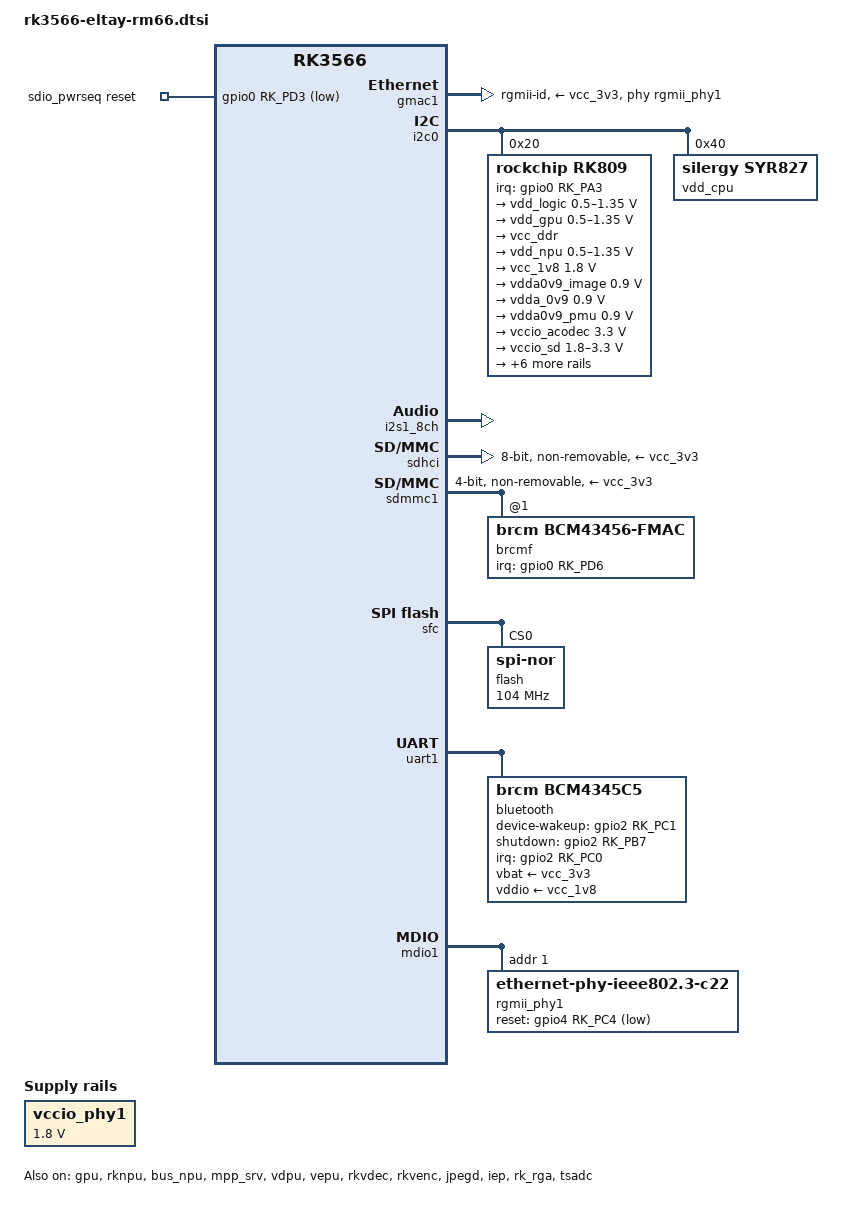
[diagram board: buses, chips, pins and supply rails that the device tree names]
// SPDX-License-Identifier: (GPL-2.0+ OR MIT)

/*
 * ELTAY RM66 SoM hardware common to carrier compositions — Rockchip BSP 6.1
 * flavor (patch/kernel/rk35xx-vendor-6.1/dt/).
 *
 * Port of the mainline rk3566-eltay-rm66.dtsi (rockchip64-6.18) to the
 * Rockchip BSP 6.1 bindings of armbian/linux-rockchip rk-6.1-rkr5.1.
 * Electrical values mirror the validated Linux 6.18 baseline (Orange Pi 3B
 * v2.1 donors retained as experimental baseline; not every timing or supply
 * value is validated by the module documentation). Camera/CSI/ISP nodes are
 * deliberately NOT here: the CAM1 carrier wiring is not validated yet and
 * the generic DTB must not describe hardware nobody probed. The NPU is
 * enabled because it is module-internal (RK3566 RKNPU2, PMIC DCDC_REG4).
 */

#include <dt-bindings/gpio/gpio.h>
#include <dt-bindings/pinctrl/rockchip.h>
#include "rk3566.dtsi"

/ {
	aliases {
		ethernet0 = &gmac1;
		mmc0 = &sdhci;
		mmc2 = &sdmmc1;
	};

	sdio_pwrseq: sdio-pwrseq {
		compatible = "mmc-pwrseq-simple";
		clocks = <&rk809 1>;
		clock-names = "ext_clock";
		pinctrl-names = "default";
		pinctrl-0 = <&wifi_reg_on_h>;
		post-power-on-delay-ms = <200>;
		power-off-delay-us = <5000000>;
		reset-gpios = <&gpio0 RK_PD3 GPIO_ACTIVE_LOW>;
	};

	/* BSP analog audio: RK809 codec behind rockchip,multicodecs-card. */
	rk809_sound: rk809-sound {
		compatible = "rockchip,multicodecs-card";
		rockchip,card-name = "rockchip-rk809";
		rockchip,cpu = <&i2s1_8ch>;
		rockchip,codec = <&rk809_codec>;
		rockchip,format = "i2s";
		rockchip,mclk-fs = <256>;
		status = "okay";
	};
};

&cpu0 {
	cpu-supply = <&vdd_cpu>;
};

&cpu1 {
	cpu-supply = <&vdd_cpu>;
};

&cpu2 {
	cpu-supply = <&vdd_cpu>;
};

&cpu3 {
	cpu-supply = <&vdd_cpu>;
};

&gmac1 {
	assigned-clocks = <&cru SCLK_GMAC1_RX_TX>, <&cru SCLK_GMAC1>;
	assigned-clock-parents = <&cru SCLK_GMAC1_RGMII_SPEED>, <&cru CLK_MAC1_2TOP>;
	clock_in_out = "input";
	phy-mode = "rgmii-id";
	phy-supply = <&vcc_3v3>;
	pinctrl-names = "default";
	pinctrl-0 = <&gmac1m0_miim
		     &gmac1m0_tx_bus2
		     &gmac1m0_rx_bus2
		     &gmac1m0_rgmii_clk
		     &gmac1m0_rgmii_bus
		     &gmac1m0_clkinout>;
};

&gpu {
	mali-supply = <&vdd_gpu>;
	status = "okay";
};

/* NPU (RKNPU2, 1 TOPS): rail is the PMIC DCDC_REG4 defined below. */
&rknpu {
	rknpu-supply = <&vdd_npu>;
	/*
	 * The rknpu driver resolves its interrupt by name first
	 * (rknpu_irqs[] = { "npu_irq", ... }) and only then falls back to
	 * platform_get_irq(pdev, 0). The BSP rk356x.dtsi declares the interrupt
	 * without a name, which makes the first lookup fail and logs
	 * "error -ENXIO: IRQ npu_irq not found" on every boot.
	 */
	interrupt-names = "npu_irq";
	status = "okay";
};

&rknpu_mmu {
	status = "okay";
};

&bus_npu {
	bus-supply = <&vdd_logic>;
	pvtm-supply = <&vdd_cpu>;
	status = "okay";
};

/*
 * Media. The BSP keeps every media block disabled in rk356x.dtsi and expects
 * the board to opt in (see rk3568-evb.dtsi / rk3568-nvr.dtsi), while the MPP
 * stack is built in and ready: CONFIG_ROCKCHIP_MPP_SERVICE, MPP_RKVDEC(2),
 * MPP_RKVENC(2), MPP_VDPU2, MPP_VEPU2, MPP_IEP2, MPP_JPGDEC are all =y.
 * Without this the vendor image has no /dev/mpp_service, no decoder/encoder
 * and no RGA at all (mainline gets them because its SoC dtsi enables them by
 * default).
 *
 * The encoder's DVFS rail (venc-supply) is left out on purpose: it has to be
 * confirmed against the RM66 schematic first. Without it the blocks work
 * without DVFS, exactly like the VOP already does on this board.
 */
&mpp_srv {
	status = "okay";
};

&vdpu {
	status = "okay";
};

&vdpu_mmu {
	status = "okay";
};

&vepu {
	status = "okay";
};

&vepu_mmu {
	status = "okay";
};

&rkvdec {
	status = "okay";
};

&rkvdec_mmu {
	status = "okay";
};

&rkvenc {
	status = "okay";
};

&rkvenc_mmu {
	status = "okay";
};

&jpegd {
	status = "okay";
};

&jpegd_mmu {
	status = "okay";
};

&iep {
	status = "okay";
};

&iep_mmu {
	status = "okay";
};

/*
 * RGA2. Enabling the node also fixes the two "rga: rga_iommu_bind, binding map
 * scheduler failed!" / "rga iommu bind failed!" errors: rga_init() calls
 * rga_iommu_bind() right after registering its platform drivers, and that bind
 * only succeeds if a scheduler was created from a matching DT node.
 */
&rk_rga {
	status = "okay";
};

&i2c0 {
	status = "okay";

	rk809: pmic@20 {
		compatible = "rockchip,rk809";
		reg = <0x20>;
		#clock-cells = <1>;
		clock-output-names = "rk809-clkout1", "rk809-clkout2";
		interrupt-parent = <&gpio0>;
		interrupts = <RK_PA3 IRQ_TYPE_LEVEL_LOW>;
		pinctrl-names = "default";
		pinctrl-0 = <&pmic_int_l>;
		system-power-controller;
		wakeup-source;

		rk809_codec: codec {
			compatible = "rockchip,rk809-codec", "rockchip,rk817-codec";
			#sound-dai-cells = <0>;
			clocks = <&cru I2S1_MCLKOUT>;
			clock-names = "mclk";
			pinctrl-names = "default";
			pinctrl-0 = <&i2s1m0_mclk>;
			status = "okay";
		};

		regulators {
			vdd_logic: DCDC_REG1 {
				regulator-name = "vdd_logic";
				regulator-always-on;
				regulator-boot-on;
				regulator-initial-mode = <0x2>;
				regulator-min-microvolt = <500000>;
				regulator-max-microvolt = <1350000>;
				regulator-ramp-delay = <6001>;

				regulator-state-mem {
					regulator-off-in-suspend;
				};
			};

			vdd_gpu: DCDC_REG2 {
				regulator-name = "vdd_gpu";
				regulator-always-on;
				regulator-boot-on;
				regulator-initial-mode = <0x2>;
				regulator-min-microvolt = <500000>;
				regulator-max-microvolt = <1350000>;
				regulator-ramp-delay = <6001>;

				regulator-state-mem {
					regulator-off-in-suspend;
				};
			};

			vcc_ddr: DCDC_REG3 {
				regulator-name = "vcc_ddr";
				regulator-always-on;
				regulator-boot-on;
				regulator-initial-mode = <0x2>;

				regulator-state-mem {
					regulator-on-in-suspend;
				};
			};

			/* Donor baseline (rk3566-orangepi-3b-v1.1, rk3568-evb,
			   rk3566-roc-pc): keep vdd_npu up from boot, matching
			   every vendor reference design. Experimental until
			   checked against the RM66 schematic; init-microvolt
			   is applied by the bundled regulator-core patch. */
			vdd_npu: DCDC_REG4 {
				regulator-name = "vdd_npu";
				regulator-always-on;
				regulator-boot-on;
				regulator-init-microvolt = <900000>;
				regulator-initial-mode = <0x2>;
				regulator-min-microvolt = <500000>;
				regulator-max-microvolt = <1350000>;
				regulator-ramp-delay = <6001>;

				regulator-state-mem {
					regulator-off-in-suspend;
				};
			};

			vcc_1v8: DCDC_REG5 {
				regulator-name = "vcc_1v8";
				regulator-always-on;
				regulator-boot-on;
				regulator-min-microvolt = <1800000>;
				regulator-max-microvolt = <1800000>;

				regulator-state-mem {
					regulator-off-in-suspend;
				};
			};

			vdda0v9_image: LDO_REG1 {
				regulator-name = "vdda0v9_image";
				regulator-min-microvolt = <900000>;
				regulator-max-microvolt = <900000>;

				regulator-state-mem {
					regulator-off-in-suspend;
				};
			};

			vdda_0v9: LDO_REG2 {
				regulator-name = "vdda_0v9";
				regulator-always-on;
				regulator-boot-on;
				regulator-min-microvolt = <900000>;
				regulator-max-microvolt = <900000>;

				regulator-state-mem {
					regulator-off-in-suspend;
				};
			};

			vdda0v9_pmu: LDO_REG3 {
				regulator-name = "vdda0v9_pmu";
				regulator-always-on;
				regulator-boot-on;
				regulator-min-microvolt = <900000>;
				regulator-max-microvolt = <900000>;

				regulator-state-mem {
					regulator-on-in-suspend;
					regulator-suspend-microvolt = <900000>;
				};
			};

			vccio_acodec: LDO_REG4 {
				regulator-name = "vccio_acodec";
				regulator-always-on;
				regulator-boot-on;
				regulator-min-microvolt = <3300000>;
				regulator-max-microvolt = <3300000>;

				regulator-state-mem {
					regulator-off-in-suspend;
				};
			};

			vccio_sd: LDO_REG5 {
				regulator-name = "vccio_sd";
				regulator-always-on;
				regulator-boot-on;
				regulator-min-microvolt = <1800000>;
				regulator-max-microvolt = <3300000>;

				regulator-state-mem {
					regulator-off-in-suspend;
				};
			};

			vcc3v3_pmu: LDO_REG6 {
				regulator-name = "vcc3v3_pmu";
				regulator-always-on;
				regulator-boot-on;
				regulator-min-microvolt = <3300000>;
				regulator-max-microvolt = <3300000>;

				regulator-state-mem {
					regulator-on-in-suspend;
					regulator-suspend-microvolt = <3300000>;
				};
			};

			vcca_1v8: LDO_REG7 {
				regulator-name = "vcca_1v8";
				regulator-always-on;
				regulator-boot-on;
				regulator-min-microvolt = <1800000>;
				regulator-max-microvolt = <1800000>;

				regulator-state-mem {
					regulator-off-in-suspend;
				};
			};

			vcca1v8_pmu: LDO_REG8 {
				regulator-name = "vcca1v8_pmu";
				regulator-always-on;
				regulator-boot-on;
				regulator-min-microvolt = <1800000>;
				regulator-max-microvolt = <1800000>;

				regulator-state-mem {
					regulator-off-in-suspend;
				};
			};

			vcca1v8_image: LDO_REG9 {
				regulator-name = "vcca1v8_image";
				regulator-min-microvolt = <1800000>;
				regulator-max-microvolt = <1800000>;

				regulator-state-mem {
					regulator-off-in-suspend;
				};
			};

			vcc_3v3: SWITCH_REG1 {
				regulator-name = "vcc_3v3";
				regulator-always-on;
				regulator-boot-on;

				regulator-state-mem {
					regulator-off-in-suspend;
				};
			};

			vcc3v3_sd: SWITCH_REG2 {
				regulator-name = "vcc3v3_sd";
				regulator-always-on;
				regulator-boot-on;

				regulator-state-mem {
					regulator-off-in-suspend;
				};
			};
		};
	};

	vdd_cpu: regulator@40 {
		compatible = "silergy,syr827";
		reg = <0x40>;
		fcs,suspend-voltage-selector = <1>;
		regulator-name = "vdd_cpu";
		regulator-always-on;
		regulator-boot-on;
		regulator-min-microvolt = <830000>;
		regulator-max-microvolt = <1200000>;
		regulator-ramp-delay = <2300>;

		regulator-state-mem {
			regulator-off-in-suspend;
		};
	};
};

&i2s1_8ch {
	pinctrl-names = "default";
	pinctrl-0 = <&i2s1m0_sclktx
		     &i2s1m0_lrcktx
		     &i2s1m0_sdi0
		     &i2s1m0_sdo0>;
	rockchip,trcm-sync-tx-only;
	status = "okay";
};

&pmu_io_domains {
	pmuio1-supply = <&vcc3v3_pmu>;
	pmuio2-supply = <&vcc3v3_pmu>;
	vccio1-supply = <&vccio_acodec>;
	vccio2-supply = <&vcc_1v8>;
	vccio3-supply = <&vccio_sd>;
	vccio4-supply = <&vcc_1v8>;
	vccio6-supply = <&vcc_3v3>;
	vccio7-supply = <&vcc_3v3>;
	status = "okay";
};

&sdhci {
	bus-width = <8>;
	cap-mmc-highspeed;
	max-frequency = <200000000>;
	mmc-hs200-1_8v;
	non-removable;
	pinctrl-names = "default";
	pinctrl-0 = <&emmc_bus8 &emmc_clk &emmc_cmd &emmc_datastrobe>;
	vmmc-supply = <&vcc_3v3>;
	vqmmc-supply = <&vcc_1v8>;
	status = "okay";
};

&sdmmc1 {
	bus-width = <4>;
	cap-sd-highspeed;
	cap-sdio-irq;
	keep-power-in-suspend;
	mmc-pwrseq = <&sdio_pwrseq>;
	no-mmc;
	no-sd;
	non-removable;
	pinctrl-names = "default";
	pinctrl-0 = <&sdmmc1_bus4 &sdmmc1_clk &sdmmc1_cmd>;
	sd-uhs-sdr104;
	vmmc-supply = <&vcc_3v3>;
	vqmmc-supply = <&vcc_1v8>;
	status = "okay";
};

&sfc {
	#address-cells = <1>;
	#size-cells = <0>;
	status = "okay";

	flash@0 {
		compatible = "jedec,spi-nor";
		reg = <0>;
		spi-max-frequency = <104000000>;
		spi-rx-bus-width = <4>;
		spi-tx-bus-width = <1>;
	};
};

&tsadc {
	rockchip,hw-tshut-mode = <1>;
	rockchip,hw-tshut-polarity = <0>;
	status = "okay";
};

&uart1 {
	dma-names = "tx", "rx";
	pinctrl-names = "default";
	pinctrl-0 = <&uart1m0_xfer &uart1m0_ctsn &uart1m0_rtsn>;
	uart-has-rtscts;
	status = "okay";
};

&pinctrl {
	bluetooth {
		bt_reg_on_h: bt-reg-on-h {
			rockchip,pins = <2 RK_PB7 RK_FUNC_GPIO &pcfg_pull_none>;
		};

		bt_wake_host_h: bt-wake-host-h {
			rockchip,pins = <2 RK_PC0 RK_FUNC_GPIO &pcfg_pull_down>;
		};

		host_wake_bt_h: host-wake-bt-h {
			rockchip,pins = <2 RK_PC1 RK_FUNC_GPIO &pcfg_pull_none>;
		};
	};

	pmic {
		pmic_int_l: pmic-int-l {
			rockchip,pins = <0 RK_PA3 RK_FUNC_GPIO &pcfg_pull_up>;
		};
	};

	wifi {
		wifi_reg_on_h: wifi-reg-on-h {
			rockchip,pins = <0 RK_PD3 RK_FUNC_GPIO &pcfg_pull_none>;
		};

		wifi_wake_host_h: wifi-wake-host-h {
			rockchip,pins = <0 RK_PD6 RK_FUNC_GPIO &pcfg_pull_none>;
		};
	};
};

/* Tested PHY and AP6256 variant on the RM66 module. */
/ {

	vccio_phy1: regulator-1v8-vccio-phy {
		compatible = "regulator-fixed";
		regulator-name = "vccio_phy1";
		regulator-always-on;
		regulator-boot-on;
		regulator-max-microvolt = <1800000>;
		regulator-min-microvolt = <1800000>;
	};
};

&pmu_io_domains {
	vccio5-supply = <&vccio_phy1>;
};

&gmac1 {
	phy-handle = <&rgmii_phy1>;
	status = "okay";
};

&mdio1 {
	rgmii_phy1: ethernet-phy@1 {
		compatible = "ethernet-phy-ieee802.3-c22";
		reg = <1>;
		reset-assert-us = <20000>;
		reset-deassert-us = <50000>;
		reset-gpios = <&gpio4 RK_PC4 GPIO_ACTIVE_LOW>;
	};
};

&sdmmc1 {
	#address-cells = <1>;
	#size-cells = <0>;

	brcmf: wifi@1 {
		compatible = "brcm,bcm43456-fmac", "brcm,bcm4329-fmac";
		reg = <1>;
		interrupt-parent = <&gpio0>;
		interrupts = <RK_PD6 IRQ_TYPE_LEVEL_HIGH>;
		interrupt-names = "host-wake";
		pinctrl-names = "default";
		pinctrl-0 = <&wifi_wake_host_h>;
	};
};

&uart1 {
	bluetooth {
		compatible = "brcm,bcm4345c5";
		clocks = <&rk809 1>;
		clock-names = "lpo";
		interrupt-parent = <&gpio2>;
		interrupts = <RK_PC0 IRQ_TYPE_LEVEL_HIGH>;
		interrupt-names = "host-wakeup";
		device-wakeup-gpios = <&gpio2 RK_PC1 GPIO_ACTIVE_HIGH>;
		shutdown-gpios = <&gpio2 RK_PB7 GPIO_ACTIVE_HIGH>;
		pinctrl-names = "default";
		pinctrl-0 = <&bt_reg_on_h &bt_wake_host_h &host_wake_bt_h>;
		vbat-supply = <&vcc_3v3>;
		vddio-supply = <&vcc_1v8>;
	};
};
